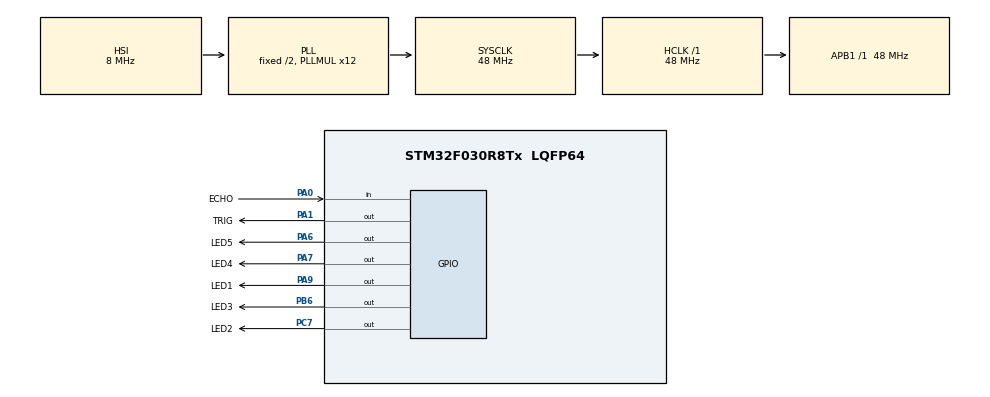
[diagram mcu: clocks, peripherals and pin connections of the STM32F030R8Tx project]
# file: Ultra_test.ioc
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Mcu.Family=STM32F0
Mcu.Name=STM32F030R8Tx
Mcu.Package=LQFP64
PA0.GPIO_Label=ECHO
PA0.GPIO_PuPd=GPIO_PULLDOWN
PA0.Signal=GPIO_Input
PA1.GPIO_Label=TRIG
PA1.Signal=GPIO_Output
PA6.GPIO_Label=LED5
PA6.Signal=GPIO_Output
PA7.GPIO_Label=LED4
PA7.Signal=GPIO_Output
PA9.GPIO_Label=LED1
PA9.Signal=GPIO_Output
PB6.GPIO_Label=LED3
PB6.Signal=GPIO_Output
PC7.GPIO_Label=LED2
PC7.Signal=GPIO_Output
ProjectManager.HeapSize=0x200
ProjectManager.StackSize=0x400
ProjectManager.TargetToolchain=STM32CubeIDE
RCC.AHBFreq_Value=48000000
RCC.APB1Freq_Value=48000000
RCC.APB1TimFreq_Value=48000000
RCC.HCLKFreq_Value=48000000
RCC.PLLMUL=RCC_PLL_MUL12
RCC.SYSCLKFreq_VALUE=48000000
RCC.SYSCLKSource=RCC_SYSCLKSOURCE_PLLCLK
TIM3.Period=0
TIM3.Prescaler=47
VP_TIM3_VS_ClockSourceINT.Mode=Internal
board=custom

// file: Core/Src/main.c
/* USER CODE BEGIN Header */
/**
  ******************************************************************************
  * @file           : main.c
  * @brief          : Main program body
  ******************************************************************************
  * @attention
  *
  * Copyright (c) 2023 STMicroelectronics.
  * All rights reserved.
  *
  * This software is licensed under terms that can be found in the LICENSE file
  * in the root directory of this software component.
  * If no LICENSE file comes with this software, it is provided AS-IS.
  *
  ******************************************************************************
  */
/* USER CODE END Header */
#include "main.h"

/* USER CODE BEGIN PTD */
#define usTIM TIM3 // функция привязана к третьему таймеру
/* USER CODE END PTD */

TIM_HandleTypeDef htim3;

void SystemClock_Config(void);
static void MX_GPIO_Init(void);
static void MX_TIM3_Init(void);
/* USER CODE BEGIN PFP */
void usDelay(uint32_t uSec); // Создадим функцию
/* USER CODE END PFP */

/* USER CODE BEGIN 0 */
const float Sos = 0.034/2; // Объявим константу (Скорость звука)
float distance; // переменная
/* USER CODE END 0 */

int main(void)
{
  /* USER CODE BEGIN 1 */
uint32_t numTicks; // переменная
  /* USER CODE END 1 */

  /* MCU Configuration--------------------------------------------------------*/

  /* Reset of all peripherals, Initializes the Flash interface and the Systick. */
  HAL_Init();

  /* Configure the system clock */
  SystemClock_Config();

  /* Initialize all configured peripherals */
  MX_GPIO_Init();
  MX_TIM3_Init();
  /* USER CODE BEGIN 2 */
  HAL_TIM_Base_Start_IT(&htim3); // прерывание запущенно
  HAL_TIM_Base_Start(&htim3); // запускаем таймер
  /* USER CODE END 2 */

  /* Infinite loop */
  /* USER CODE BEGIN WHILE */
  while (1)
  {

		HAL_GPIO_WritePin(TRIG_GPIO_Port, TRIG_Pin, GPIO_PIN_RESET); // начальное положение: выключенно
		usDelay(3); // задержка 3 микросекунды

	    HAL_GPIO_WritePin(TRIG_GPIO_Port, TRIG_Pin, GPIO_PIN_SET); // даем импульс в 10 микросекунд
	    usDelay(10);
	    HAL_GPIO_WritePin(TRIG_GPIO_Port, TRIG_Pin, GPIO_PIN_RESET); // выключаем

	    while(HAL_GPIO_ReadPin(ECHO_GPIO_Port, ECHO_Pin) == GPIO_PIN_RESET); // ждем смены состояния ECHO

	    numTicks = 0; // тики равны 0
	    while(HAL_GPIO_ReadPin(ECHO_GPIO_Port, ECHO_Pin) == GPIO_PIN_SET) // Если состояния сменилось, то считаем тики каждые 2 микросекунды
	    {
	    	numTicks++;
	    	usDelay(2);
	    }

	    distance = (numTicks + 0.0f) * 4.8 * Sos; // Вычисляем расстояние

	    if(distance > 10){
	    	HAL_GPIO_WritePin(LED1_GPIO_Port, LED1_Pin, GPIO_PIN_SET);
	    	HAL_Delay(100);
	    }
	    else{
	    	HAL_GPIO_WritePin(LED1_GPIO_Port, LED1_Pin, GPIO_PIN_RESET);
	    	HAL_Delay(100);
	    }

	    if(distance > 20){
	    	HAL_GPIO_WritePin(LED2_GPIO_Port, LED2_Pin, GPIO_PIN_SET);
	    	HAL_Delay(100);
	    }
	    else{
	    	HAL_GPIO_WritePin(LED2_GPIO_Port, LED2_Pin, GPIO_PIN_RESET);
	    	HAL_Delay(100);
	    }

	    if(distance > 30){
	    	HAL_GPIO_WritePin(LED3_GPIO_Port, LED3_Pin, GPIO_PIN_SET);
	    	HAL_Delay(100);
	    }
	    else{
	    	HAL_GPIO_WritePin(LED3_GPIO_Port, LED3_Pin, GPIO_PIN_RESET);
	    	HAL_Delay(100);
	    }

	    if(distance > 40){
	    	HAL_GPIO_WritePin(LED4_GPIO_Port, LED4_Pin, GPIO_PIN_SET);
	    	HAL_Delay(100);
	    }
	    else{
	    	HAL_GPIO_WritePin(LED4_GPIO_Port, LED4_Pin, GPIO_PIN_RESET);
	    	HAL_Delay(100);
	    }

	    if(distance > 50){
	    	HAL_GPIO_WritePin(LED5_GPIO_Port, LED5_Pin, GPIO_PIN_SET);
	    	HAL_Delay(100);
	    }
	    else{
	    	HAL_GPIO_WritePin(LED5_GPIO_Port, LED5_Pin, GPIO_PIN_RESET);
	    	HAL_Delay(100);
	    }
    /* USER CODE END WHILE */

  }
}

void SystemClock_Config(void)
{
  RCC_OscInitTypeDef RCC_OscInitStruct = {0};
  RCC_ClkInitTypeDef RCC_ClkInitStruct = {0};

  /** Initializes the RCC Oscillators according to the specified parameters
  * in the RCC_OscInitTypeDef structure.
  */
  RCC_OscInitStruct.OscillatorType = RCC_OSCILLATORTYPE_HSI;
  RCC_OscInitStruct.HSIState = RCC_HSI_ON;
  RCC_OscInitStruct.HSICalibrationValue = RCC_HSICALIBRATION_DEFAULT;
  RCC_OscInitStruct.PLL.PLLState = RCC_PLL_ON;
  RCC_OscInitStruct.PLL.PLLSource = RCC_PLLSOURCE_HSI;
  RCC_OscInitStruct.PLL.PLLMUL = RCC_PLL_MUL12;
  RCC_OscInitStruct.PLL.PREDIV = RCC_PREDIV_DIV1;
  if (HAL_RCC_OscConfig(&RCC_OscInitStruct) != HAL_OK)
  {
    Error_Handler();
  }

  /** Initializes the CPU, AHB and APB buses clocks
  */
  RCC_ClkInitStruct.ClockType = RCC_CLOCKTYPE_HCLK|RCC_CLOCKTYPE_SYSCLK
                              |RCC_CLOCKTYPE_PCLK1;
  RCC_ClkInitStruct.SYSCLKSource = RCC_SYSCLKSOURCE_PLLCLK;
  RCC_ClkInitStruct.AHBCLKDivider = RCC_SYSCLK_DIV1;
  RCC_ClkInitStruct.APB1CLKDivider = RCC_HCLK_DIV1;

  if (HAL_RCC_ClockConfig(&RCC_ClkInitStruct, FLASH_LATENCY_1) != HAL_OK)
  {
    Error_Handler();
  }
}

static void MX_TIM3_Init(void)
{

  TIM_ClockConfigTypeDef sClockSourceConfig = {0};
  TIM_MasterConfigTypeDef sMasterConfig = {0};

  htim3.Instance = TIM3;
  htim3.Init.Prescaler = 47;
  htim3.Init.CounterMode = TIM_COUNTERMODE_UP;
  htim3.Init.Period = 0;
  htim3.Init.ClockDivision = TIM_CLOCKDIVISION_DIV1;
  htim3.Init.AutoReloadPreload = TIM_AUTORELOAD_PRELOAD_DISABLE;
  if (HAL_TIM_Base_Init(&htim3) != HAL_OK)
  {
    Error_Handler();
  }
  sClockSourceConfig.ClockSource = TIM_CLOCKSOURCE_INTERNAL;
  if (HAL_TIM_ConfigClockSource(&htim3, &sClockSourceConfig) != HAL_OK)
  {
    Error_Handler();
  }
  sMasterConfig.MasterOutputTrigger = TIM_TRGO_RESET;
  sMasterConfig.MasterSlaveMode = TIM_MASTERSLAVEMODE_DISABLE;
  if (HAL_TIMEx_MasterConfigSynchronization(&htim3, &sMasterConfig) != HAL_OK)
  {
    Error_Handler();
  }

}

static void MX_GPIO_Init(void)
{
  GPIO_InitTypeDef GPIO_InitStruct = {0};

  /* GPIO Ports Clock Enable */
  __HAL_RCC_GPIOA_CLK_ENABLE();
  __HAL_RCC_GPIOC_CLK_ENABLE();
  __HAL_RCC_GPIOB_CLK_ENABLE();

  /*Configure GPIO pin Output Level */
  HAL_GPIO_WritePin(GPIOA, TRIG_Pin|LED5_Pin|LED4_Pin|LED1_Pin, GPIO_PIN_RESET);

  /*Configure GPIO pin Output Level */
  HAL_GPIO_WritePin(LED2_GPIO_Port, LED2_Pin, GPIO_PIN_RESET);

  /*Configure GPIO pin Output Level */
  HAL_GPIO_WritePin(LED3_GPIO_Port, LED3_Pin, GPIO_PIN_RESET);

  /*Configure GPIO pin : ECHO_Pin */
  GPIO_InitStruct.Pin = ECHO_Pin;
  GPIO_InitStruct.Mode = GPIO_MODE_INPUT;
  GPIO_InitStruct.Pull = GPIO_PULLDOWN;
  HAL_GPIO_Init(ECHO_GPIO_Port, &GPIO_InitStruct);

  /*Configure GPIO pins : TRIG_Pin LED5_Pin LED4_Pin LED1_Pin */
  GPIO_InitStruct.Pin = TRIG_Pin|LED5_Pin|LED4_Pin|LED1_Pin;
  GPIO_InitStruct.Mode = GPIO_MODE_OUTPUT_PP;
  GPIO_InitStruct.Pull = GPIO_NOPULL;
  GPIO_InitStruct.Speed = GPIO_SPEED_FREQ_LOW;
  HAL_GPIO_Init(GPIOA, &GPIO_InitStruct);

  /*Configure GPIO pin : LED2_Pin */
  GPIO_InitStruct.Pin = LED2_Pin;
  GPIO_InitStruct.Mode = GPIO_MODE_OUTPUT_PP;
  GPIO_InitStruct.Pull = GPIO_NOPULL;
  GPIO_InitStruct.Speed = GPIO_SPEED_FREQ_LOW;
  HAL_GPIO_Init(LED2_GPIO_Port, &GPIO_InitStruct);

  /*Configure GPIO pin : LED3_Pin */
  GPIO_InitStruct.Pin = LED3_Pin;
  GPIO_InitStruct.Mode = GPIO_MODE_OUTPUT_PP;
  GPIO_InitStruct.Pull = GPIO_NOPULL;
  GPIO_InitStruct.Speed = GPIO_SPEED_FREQ_LOW;
  HAL_GPIO_Init(LED3_GPIO_Port, &GPIO_InitStruct);

}

/* USER CODE BEGIN 4 */
void usDelay(uint32_t uSec)
{
	if(uSec < 2) uSec = 2;
	usTIM->ARR = uSec - 1; 	/*sets the value in the auto-reload register*/
	usTIM->EGR = 1; 			/*Re-initialises the timer*/
	usTIM->SR &= ~1; 		//Resets the flag
	usTIM->CR1 |= 1; 		//Enables the counter
	while((usTIM->SR&0x0001) != 1);
	usTIM->SR &= ~(0x0001);
}
/* USER CODE END 4 */

void Error_Handler(void)
{
  __disable_irq();
  while (1)
  {
  }
}
